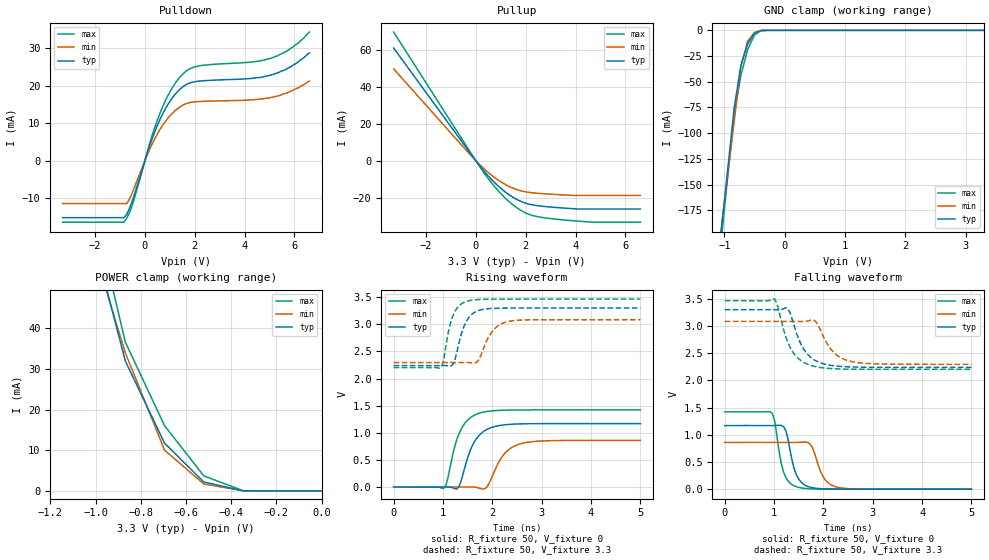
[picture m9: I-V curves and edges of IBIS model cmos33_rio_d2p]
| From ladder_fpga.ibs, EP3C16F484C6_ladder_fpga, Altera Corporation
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[Model] cmos33_rio_d2p
Model_type I/O
Polarity Non-Inverting
Enable Active-Low
Vinl  = 0.8V
Vinh  = 1.7V
Vmeas = 1.5425V
Rref  = 10M
Cref  = 0pF
Vref  = 0V
C_comp  4.4pF   4.4pF   4.4pF
[Temperature Range] 25   85   0
[Voltage Range]   3.3   3.085   3.465
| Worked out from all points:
|   slope of the pulldown table from 0 to 0.495 V, typ, clamps not added: 53.2 ohm
|   slope of the pullup table from 0 to 0.495 V, typ, clamps not added: 60.7 ohm
|   GND clamp passes 1 mA (typ) near -0.43 V on its own axis
|   POWER clamp passes 1 mA (typ) near -0.43 V on its own axis
|   rising waveform, R_fixture 50, V_fixture 0: 20-80 % time 312ps typ, 344ps min, 287ps max; typ from 0 V to 1.17 V
|   falling waveform, R_fixture 50, V_fixture 0: 20-80 % time 191ps typ, 225ps min, 175ps max; typ from 1.17 V to 0 V
|   rising waveform, R_fixture 50, V_fixture 3.3: 20-80 % time 224ps typ, 279ps min, 195ps max; typ from 2.24 V to 3.3 V
|   falling waveform, R_fixture 50, V_fixture 3.3: 20-80 % time 331ps typ, 353ps min, 320ps max; typ from 3.3 V to 2.24 V
[GND Clamp]
| voltage   I (typ)   I (min)   I (max)
-3.3V     -1.449A    -1.286A    -1.533A
-1.063V   -200.8mA   -197.7mA   -211mA
-950.8mV  -138.4mA   -143.3mA   -144.9mA
-839mV    -75.96mA   -88.9mA    -82.12mA
-727.1mV  -34.33mA   -34.92mA   -43.75mA
-615.2mV  -13.39mA   -10.72mA   -18.82mA
-503.4mV  -2.65mA    -2.136mA   -4.609mA
-391.5mV  -131.9uA   -144.3uA   -303.1uA
-279.7mV  -2.495uA   -5.275uA   -4.791uA
3.3V      0A         0A         0A
[Pulldown]
| voltage   I (typ)   I (min)   I (max)
-3.3V     -15.12mA   -11.37mA   -16.31mA
-839mV    -15.12mA   -11.37mA   -16.31mA
-727.1mV  -14.23mA   -11.37mA   -15.26mA
-503.4mV  -10.65mA   -8.492mA   -11.77mA
167.8mV   3.512mA    2.673mA    4.016mA
615.2mV   11.09mA    8.423mA    12.78mA
1.063V    16.35mA    12.36mA    18.98mA
1.622V    20.12mA    15.08mA    23.63mA
2.293V    21.24mA    15.79mA    25.33mA
5.124V    22.9mA     16.89mA    27.38mA
5.818V    24.89mA    18.38mA    29.69mA
6.6V      28.7mA     21.2mA     34.2mA
[POWER Clamp]
| voltage   I (typ)   I (min)   I (max)
-3.3V     540.7mA    475.5mA    598.1mA
-1.042V   69.25mA    65.55mA    77.81mA
-868.4mV  31.96mA    33.97mA    36.61mA
-694.7mV  11.73mA    10.02mA    16.03mA
-521.1mV  2.195mA    1.705mA    3.697mA
-347.4mV  26.63uA    39.34uA    52.6uA
0V        0A         0A         0A
[Pullup]
| voltage   I (typ)   I (min)   I (max)
-3.3V     60.92mA    49.65mA    69.53mA
173.7mV   -3.034mA   -2.372mA   -3.54mA
521.1mV   -8.549mA   -6.62mA    -10.05mA
868.4mV   -13.29mA   -10.18mA   -15.77mA
1.216V    -17.23mA   -13.03mA   -20.63mA
1.563V    -20.31mA   -15.15mA   -24.59mA
2.084V    -23.24mA   -16.95mA   -28.68mA
2.432V    -24.13mA   -17.48mA   -30.03mA
2.953V    -24.9mA    -17.98mA   -31.11mA
4.083V    -26.01mA   -18.71mA   -32.56mA
4.642V    -26.01mA   -18.71mA   -33.14mA
6.6V      -26.01mA   -18.71mA   -33.14mA
[Ramp]
dV/dt_r   7.014e-001/3.115e-010  5.159e-001/3.443e-010  8.532e-001/2.869e-010
dV/dt_f   6.366e-001/3.309e-010  4.740e-001/3.525e-010  7.572e-001/3.198e-010
R_load = 50ohms
[Rising Waveform]
R_fixture   = 50
V_fixture   = 0
V_fixture_min = 0
V_fixture_max = 0
| time   V (typ)   V (min)   V (max)
0s        0V         0V         0V
1.016ns   -191.3uV   -187.6uV   -25.31mV
1.06ns    988.2uV    -178.4uV   32.16mV
1.326ns   11.15mV    -290.3uV   986.5mV
1.548ns   664.8mV    1.4mV      1.274V
1.725ns   945.1mV    -17.93mV   1.358V
1.858ns   1.045V     -27.02mV   1.388V
2.212ns   1.143V     576.4mV    1.415V
2.567ns   1.164V     795.7mV    1.421V
5ns       1.169V     859.9mV    1.422V
[Falling Waveform]
R_fixture   = 50
V_fixture   = 0
V_fixture_min = 0
V_fixture_max = 0
| time   V (typ)   V (min)   V (max)
0s        1.169V     859.9mV    1.422V
971.5ps   1.169V     860mV      1.382V
1.193ns   1.15V      859.8mV    317.2mV
1.237ns   1.081V     859.8mV    220.7mV
1.37ns    509mV      859.9mV    80.42mV
1.459ns   252.1mV    860.4mV    43.28mV
1.725ns   38.23mV    834.7mV    7.395mV
1.991ns   6.822mV    233.9mV    1.321mV
2.256ns   1.255mV    42.68mV    234.9uV
5ns       4.87uV     7.956uV    3.409uV
[Rising Waveform]
R_fixture   = 50
V_fixture   = 3.3
V_fixture_min = 3.085
V_fixture_max = 3.465
| time   V (typ)   V (min)   V (max)
0s        2.239V     2.295V     2.203V
971.5ps   2.238V     2.295V     2.225V
1.104ns   2.234V     2.295V     2.837V
1.193ns   2.251V     2.295V     3.14V
1.37ns    2.818V     2.295V     3.375V
1.503ns   3.099V     2.295V     3.43V
1.68ns    3.239V     2.297V     3.454V
1.991ns   3.292V     2.859V     3.463V
2.301ns   3.298V     3.047V     3.464V
5ns       3.3V       3.085V     3.465V
[Falling Waveform]
R_fixture   = 50
V_fixture   = 3.3
V_fixture_min = 3.085
V_fixture_max = 3.465
| time   V (typ)   V (min)   V (max)
0s        3.3V       3.085V     3.465V
1.016ns   3.298V     3.084V     3.494V
1.237ns   3.334V     3.084V     2.803V
1.326ns   3.237V     3.084V     2.607V
1.548ns   2.663V     3.083V     2.362V
1.769ns   2.405V     3.113V     2.268V
1.858ns   2.355V     3.066V     2.249V
2.168ns   2.274V     2.558V     2.216V
2.522ns   2.248V     2.357V     2.206V
5ns       2.239V     2.295V     2.203V
